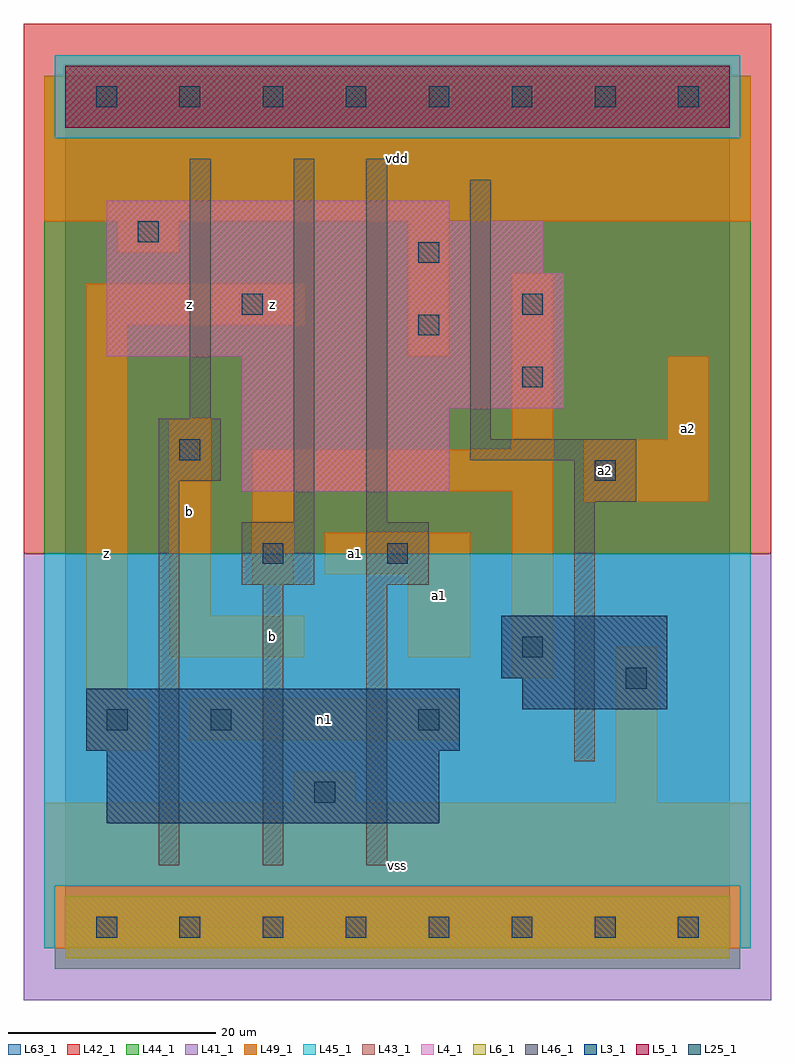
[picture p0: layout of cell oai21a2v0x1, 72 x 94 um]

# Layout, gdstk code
import gdstk
lib = gdstk.Library(unit=1e-6, precision=1e-09)
def R(c, l, rs):  # rectangles x0, y0, x1, y1
    for r in rs: c.add(gdstk.rectangle(r[:2], r[2:], *l))
def A(c, l, x, y, w, h, nx, ny, dx, dy):  # array of equal rectangles
    R(c, l, [(x+i*dx, y+j*dy, x+i*dx+w, y+j*dy+h) for i in range(nx) for j in range(ny)])
L3_1 = (3, 1)
L4_1 = (4, 1)
L5_1 = (5, 1)
L6_1 = (6, 1)
L25_1 = (25, 1)
L41_1 = (41, 1)
L42_1 = (42, 1)
L43_1 = (43, 1)
L44_1 = (44, 1)
L45_1 = (45, 1)
L46_1 = (46, 1)
L49_1 = (49, 1)
L63_1 = (63, 1)

oai21a2v0x1 = lib.new_cell('oai21a2v0x1')
R(oai21a2v0x1, L3_1, [(4,10,36,17), (2,17,38,23), (44,21,58,24), (42,24,58,30)])
R(oai21a2v0x1, L4_1, [(17,42,37,50), (17,50,48,55), (4,55,48,63), (4,63,46,68), (4,68,37,70)])
R(oai21a2v0x1, L5_1, [(0,77,64,83)])
R(oai21a2v0x1, L6_1, [(0,-3,64,3), (0,-3,64,3)])
A(oai21a2v0x1, L25_1, 3, -1, 2, 2, 8, 2, 8, 80)
R(oai21a2v0x1, L25_1, [(24,12,26,14), (4,19,6,21), (14,19,16,21), (34,19,36,21), (54,23,56,25), (44,26,46,28), (19,35,21,37), (31,35,33,37), (51,43,53,45), (11,45,13,47), (44,52,46,54), (34,57,36,59), (17,59,19,61), (44,59,46,61), (34,64,36,66), (7,66,9,68)])
R(oai21a2v0x1, L41_1, [(-4,-7,68,36)])
R(oai21a2v0x1, L42_1, [(-4,36,68,87)])
R(oai21a2v0x1, L43_1, [(0,-3,64,3), (4,10,36,17), (2,17,38,23), (44,21,58,24), (42,24,58,30), (17,42,37,50), (17,50,48,55), (4,55,48,63), (4,63,46,68), (4,68,37,70), (0,77,64,83)])
R(oai21a2v0x1, L44_1, [(-1,-4,65,4), (-2,36,66,76), (-2,76,-1,82), (65,76,66,82)])
R(oai21a2v0x1, L45_1, [(-2,-2,-1,4), (65,-2,66,4), (-2,4,66,36), (-1,76,65,84)])
R(oai21a2v0x1, L46_1, [(9,6,11,43), (19,6,21,33), (29,6,31,33), (49,16,51,41), (17,33,24,39), (29,33,35,39), (22,39,24,74), (29,39,31,74), (49,41,55,45), (9,43,15,49), (39,45,55,47), (39,47,41,72), (12,49,14,74)])
R(oai21a2v0x1, L49_1, [(-2,-2,66,12), (22,12,28,15), (53,12,57,27), (2,17,8,22), (12,18,38,22), (2,22,6,58), (43,24,47,42), (10,26,23,30), (33,26,39,34), (10,30,14,49), (18,33,22,42), (25,34,39,38), (50,41,62,47), (18,42,47,46), (43,46,47,63), (58,47,62,55), (33,55,37,68), (2,58,23,62), (5,65,11,68), (-2,68,66,82)])
R(oai21a2v0x1, L63_1, [(0,0,64,80)])
oai21a2v0x1.add(gdstk.Label('z', (4,36), layer=49, texttype=1))
oai21a2v0x1.add(gdstk.Label('b', (12,40), layer=49, texttype=1))
oai21a2v0x1.add(gdstk.Label('z', (12,60), layer=49, texttype=1))
oai21a2v0x1.add(gdstk.Label('b', (20,28), layer=49, texttype=1))
oai21a2v0x1.add(gdstk.Label('a1', (28,36), layer=49, texttype=1))
oai21a2v0x1.add(gdstk.Label('z', (20,60), layer=49, texttype=1))
oai21a2v0x1.add(gdstk.Label('vss', (32,6), layer=49, texttype=1))
oai21a2v0x1.add(gdstk.Label('n1', (25,20), layer=49, texttype=1))
oai21a2v0x1.add(gdstk.Label('a1', (36,32), layer=49, texttype=1))
oai21a2v0x1.add(gdstk.Label('vdd', (32,74), layer=49, texttype=1))
oai21a2v0x1.add(gdstk.Label('a2', (52,44), layer=49, texttype=1))
oai21a2v0x1.add(gdstk.Label('a2', (60,48), layer=49, texttype=1))

lib.write_gds('oai21a2v0x1.gds')
